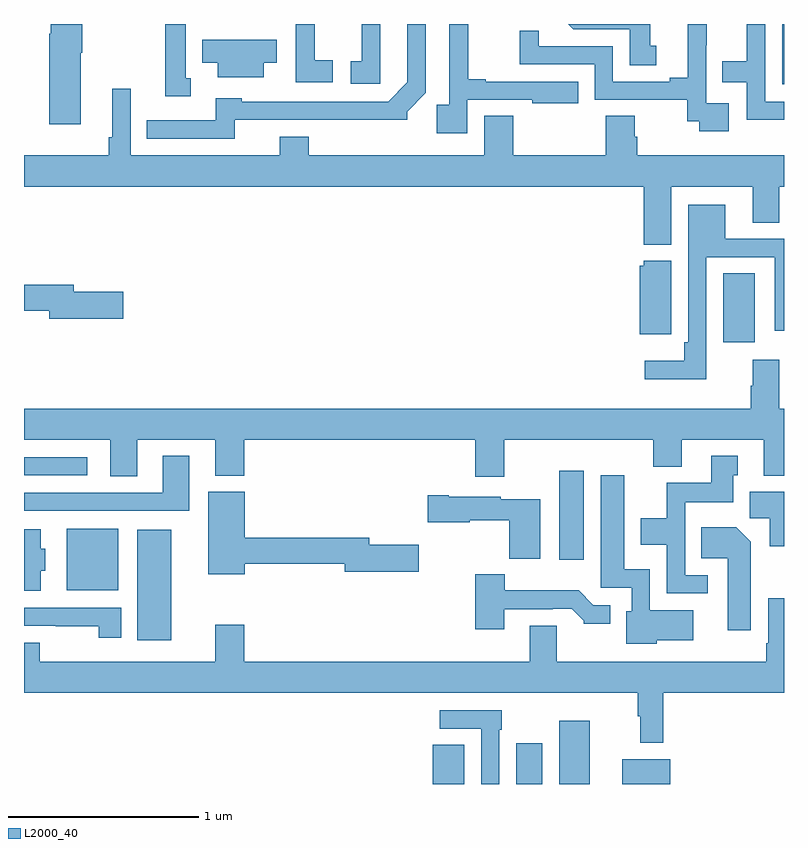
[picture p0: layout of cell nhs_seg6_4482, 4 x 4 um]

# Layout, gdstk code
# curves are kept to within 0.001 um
import gdstk
lib = gdstk.Library(unit=1e-6, precision=1e-09)
def R(c, l, rs):  # rectangles x0, y0, x1, y1
    for r in rs: c.add(gdstk.rectangle(r[:2], r[2:], *l))
def P(c, l, *ps):  # polygons
    for p in ps: c.add(gdstk.Polygon(p, *l))
L2000_40 = (2000, 40)

nhs_seg6_4482 = lib.new_cell('nhs_seg6_4482')
R(nhs_seg6_4482, L2000_40, [(377.15,969.5,377.317,969.707), (377.591,969.5,377.728,969.715), (377.816,969.5,377.977,969.832), (378.149,969.5,378.4,969.631), (375.596,970.256,375.775,970.837), (375.224,970.52,375.496,970.843), (377.816,970.68,377.947,971.149), (375,971.124,375.334,971.22), (378.68,971.826,378.847,972.188), (378.99,973.182,379,973.5)])
P(nhs_seg6_4482, L2000_40, [(375.298,973.349),(375.306,973.349),(375.306,973.5),(375.14,973.5),(375.14,973.449),(375.134,973.449),(375.134,972.972),(375.298,972.972)],
  [(379,973.092),(378.9,973.092),(378.9,973.5),(378.803,973.5),(378.803,973.303),(378.676,973.303),(378.676,973.194),(378.804,973.194),(378.804,972.996),(379,972.996)],
  [(376.876,973.46),(376.875,973.46),(376.875,973.5),(376.777,973.5),(376.777,973.305),(376.719,973.305),(376.719,973.185),(376.876,973.185)],
  [(376.624,973.31),(376.53,973.31),(376.53,973.5),(376.431,973.5),(376.431,973.194),(376.624,973.194)],
  [(375.877,973.215),(375.852,973.215),(375.852,973.5),(375.744,973.5),(375.744,973.121),(375.877,973.121)],
  [(376.11,972.996),(377.016,972.995),(377.016,973.039),(377.115,973.138),(377.115,973.5),(377.018,973.5),(377.018,973.193),(376.917,973.092),(376.146,973.092),(376.146,973.108),(376.01,973.108),(376.01,972.993),(375.646,972.993),(375.646,972.897),(376.11,972.897)],
  [(377.334,973.101),(377.675,973.101),(377.675,973.082),(377.918,973.082),(377.918,973.197),(377.431,973.197),(377.431,973.21),(377.339,973.21),(377.339,973.5),(377.238,973.5),(377.238,973.075),(377.173,973.075),(377.173,972.924),(377.334,972.924)],
  [(378.328,973.386),(378.295,973.386),(378.295,973.5),(377.865,973.5),(377.892,973.473),(378.188,973.473),(378.188,973.282),(378.328,973.282)],
  [(378.709,973.083),(378.591,973.083),(378.591,973.387),(378.593,973.387),(378.593,973.5),(378.494,973.5),(378.494,973.217),(378.398,973.217),(378.398,973.197),(378.099,973.197),(378.099,973.383),(377.709,973.383),(377.709,973.465),(377.608,973.465),(377.608,973.287),(378.003,973.287),(378.003,973.101),(378.49,973.101),(378.49,972.987),(378.553,972.987),(378.553,972.936),(378.709,972.936)],
  [(376.261,973.295),(376.33,973.295),(376.33,973.417),(375.937,973.417),(375.937,973.295),(376.019,973.295),(376.019,973.22),(376.261,973.22)],
  [(378.406,972.644),(378.836,972.644),(378.836,972.454),(378.976,972.454),(378.976,972.644),(379,972.644),(379,972.808),(378.227,972.808),(378.227,972.906),(378.214,972.906),(378.214,973.016),(378.062,973.016),(378.062,972.808),(377.576,972.808),(377.576,973.016),(377.423,973.016),(377.423,972.808),(376.499,972.808),(376.499,972.907),(376.346,972.907),(376.346,972.808),(375.561,972.808),(375.561,973.159),(375.464,973.159),(375.464,972.904),(375.445,972.904),(375.445,972.808),(375,972.808),(375,972.644),(378.263,972.644),(378.263,972.338),(378.406,972.338)],
  [(378.591,972.273),(378.951,972.273),(378.951,971.886),(379,971.886),(379,972.369),(378.691,972.369),(378.691,972.55),(378.495,972.55),(378.495,971.824),(378.475,971.824),(378.475,971.728),(378.267,971.728),(378.267,971.63),(378.591,971.63)],
  [(378.406,972.253),(378.261,972.253),(378.261,972.228),(378.242,972.228),(378.242,971.867),(378.406,971.867)],
  [(375.523,972.092),(375.262,972.092),(375.262,972.128),(375,972.128),(375,971.992),(375.134,971.992),(375.134,971.95),(375.523,971.95)],
  [(378.836,971.597),(378.824,971.597),(378.824,971.476),(375,971.476),(375,971.312),(375.455,971.312),(375.455,971.119),(375.595,971.119),(375.595,971.312),(376.007,971.312),(376.007,971.123),(376.16,971.123),(376.16,971.312),(377.375,971.312),(377.375,971.118),(377.527,971.118),(377.527,971.312),(378.311,971.312),(378.311,971.171),(378.463,971.171),(378.463,971.312),(378.893,971.312),(378.893,971.123),(379,971.123),(379,971.476),(378.976,971.476),(378.976,971.734),(378.836,971.734)],
  [(375.871,971.227),(375.731,971.227),(375.731,971.034),(375,971.034),(375,970.938),(375.871,970.938)],
  [(378.598,970.599),(378.48,970.599),(378.48,970.982),(378.733,970.982),(378.733,971.124),(378.757,971.124),(378.757,971.227),(378.617,971.227),(378.617,971.086),(378.382,971.086),(378.382,970.9),(378.245,970.9),(378.245,970.76),(378.384,970.76),(378.384,970.503),(378.598,970.503)],
  [(378.33,970.256),(378.523,970.256),(378.523,970.414),(378.294,970.414),(378.294,970.63),(378.16,970.63),(378.16,971.125),(378.035,971.125),(378.035,970.533),(378.198,970.533),(378.198,970.41),(378.17,970.41),(378.17,970.238),(378.33,970.238)],
  [(379,971.038),(378.821,971.038),(378.821,970.9),(378.926,970.9),(378.926,970.752),(379,970.752)],
  [(376.162,970.66),(376.688,970.66),(376.688,970.618),(377.077,970.618),(377.077,970.76),(376.816,970.76),(376.816,970.796),(376.162,970.796),(376.162,971.038),(375.971,971.038),(375.971,970.604),(376.162,970.604)],
  [(377.716,970.999),(377.508,970.999),(377.508,971.011),(377.236,971.011),(377.236,971.019),(377.124,971.019),(377.124,970.877),(377.346,970.877),(377.346,970.889),(377.554,970.889),(377.554,970.685),(377.716,970.685)],
  [(378.826,970.774),(378.748,970.852),(378.565,970.852),(378.565,970.688),(378.704,970.688),(378.704,970.308),(378.826,970.308)],
  [(375.088,970.623),(375.112,970.623),(375.112,970.737),(375.088,970.737),(375.088,970.84),(375,970.84),(375,970.517),(375.088,970.517)],
  [(377.527,970.419),(377.783,970.419),(377.783,970.422),(377.882,970.422),(377.946,970.358),(377.946,970.343),(378.085,970.343),(378.085,970.44),(377.997,970.44),(377.919,970.519),(377.53,970.519),(377.53,970.603),(377.375,970.603),(377.375,970.314),(377.527,970.314)],
  [(378.365,969.98),(379,969.98),(379,970.477),(378.918,970.477),(378.918,970.24),(378.906,970.24),(378.906,970.144),(377.803,970.144),(377.803,970.334),(377.663,970.334),(377.663,970.144),(376.16,970.144),(376.16,970.339),(376.007,970.339),(376.007,970.144),(375.083,970.144),(375.083,970.243),(375,970.243),(375,969.98),(378.229,969.98),(378.229,969.857),(378.244,969.857),(378.244,969.717),(378.365,969.717)],
  [(375.511,970.428),(375,970.428),(375,970.332),(375.166,970.332),(375.166,970.331),(375.394,970.331),(375.394,970.269),(375.511,970.269)],
  [(377.502,969.785),(377.515,969.785),(377.515,969.888),(377.187,969.888),(377.187,969.792),(377.406,969.792),(377.406,969.5),(377.502,969.5)])

lib.write_gds('nhs_seg6_4482.gds')
